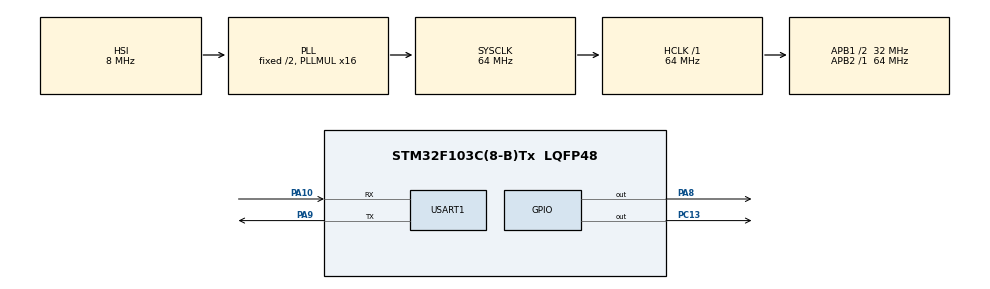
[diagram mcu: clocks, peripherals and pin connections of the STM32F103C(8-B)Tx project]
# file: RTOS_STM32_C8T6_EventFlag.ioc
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FREERTOS.BinarySemaphores01=semUart,Dynamic,NULL,Available
FREERTOS.Events01=notifyEvent,Dynamic,NULL;uartEventFlag,Dynamic,NULL
FREERTOS.HEAP_NUMBER=4
FREERTOS.Tasks01=Task1_LedBoard,24,128,S_Task1_LedBoard,Default,NULL,Dynamic,NULL,NULL;Task2_LedBlue,24,128,S_Task2_LedBlue,Default,NULL,Dynamic,NULL,NULL;Task1_PrintNoti,24,128,S_Task1_PrintNotify,Default,NULL,Dynamic,NULL,NULL;Task4_CountUp,24,128,S_Task4_CountUp,Default,NULL,Dynamic,NULL,NULL
FREERTOS.configMAX_TASK_NAME_LEN=16
FREERTOS.configTOTAL_HEAP_SIZE=3072
FREERTOS.configUSE_NEWLIB_REENTRANT=1
Mcu.Family=STM32F1
Mcu.Name=STM32F103C(8-B)Tx
Mcu.Package=LQFP48
NVIC.PriorityGroup=NVIC_PRIORITYGROUP_4
NVIC.TIM1_UP_IRQn=true\:15\:0\:false\:false\:true\:false\:false\:true\:true
NVIC.TimeBase=TIM1_UP_IRQn
NVIC.TimeBaseIP=TIM1
NVIC.USART1_IRQn=true\:5\:0\:false\:false\:true\:true\:true\:true\:true
PA10.Mode=Asynchronous
PA10.Signal=USART1_RX
PA13.Mode=Serial_Wire
PA13.Signal=SYS_JTMS-SWDIO
PA14.Mode=Serial_Wire
PA14.Signal=SYS_JTCK-SWCLK
PA8.Signal=GPIO_Output
PA9.Mode=Asynchronous
PA9.Signal=USART1_TX
PC13-TAMPER-RTC.Signal=GPIO_Output
PD0-OSC_IN.Mode=HSE-External-Oscillator
PD0-OSC_IN.Signal=RCC_OSC_IN
PD1-OSC_OUT.Mode=HSE-External-Oscillator
PD1-OSC_OUT.Signal=RCC_OSC_OUT
ProjectManager.HeapSize=0x200
ProjectManager.StackSize=0x400
ProjectManager.TargetToolchain=STM32CubeIDE
RCC.AHBFreq_Value=64000000
RCC.APB1CLKDivider=RCC_HCLK_DIV2
RCC.APB1Freq_Value=32000000
RCC.APB1TimFreq_Value=64000000
RCC.APB2Freq_Value=64000000
RCC.APB2TimFreq_Value=64000000
RCC.HCLKFreq_Value=64000000
RCC.PLLMUL=RCC_PLL_MUL16
RCC.SYSCLKFreq_VALUE=64000000
RCC.SYSCLKSource=RCC_SYSCLKSOURCE_PLLCLK
RCC.USBFreq_Value=64000000
USART1.VirtualMode=VM_ASYNC
VP_FREERTOS_VS_CMSIS_V2.Mode=CMSIS_V2
VP_SYS_VS_tim1.Mode=TIM1
board=custom

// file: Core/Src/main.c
/* USER CODE BEGIN Header */
/**
  ******************************************************************************
  * @file           : main.c
  * @brief          : Main program body
  ******************************************************************************
  * @attention
  *
  * Copyright (c) 2025 STMicroelectronics.
  * All rights reserved.
  *
  * This software is licensed under terms that can be found in the LICENSE file
  * in the root directory of this software component.
  * If no LICENSE file comes with this software, it is provided AS-IS.
  *
  ******************************************************************************
  */
/* USER CODE END Header */
#include "main.h"
#include "cmsis_os.h"

/* USER CODE BEGIN Includes */
#include "stdio.h"
#include "string.h"
/* USER CODE END Includes */

/* USER CODE BEGIN PD */
#define SEM_UART_USE 1
#define ISR_MODE 0

#define TASK0_BIT   (1 << 0)
#define TASK1_BIT   (1 << 0)
#define TASK2_BIT   (1 << 1)
/* USER CODE END PD */

UART_HandleTypeDef huart1;

/* Definitions for Task1_LedBoard */
osThreadId_t Task1_LedBoardHandle;
const osThreadAttr_t Task1_LedBoard_attributes = {
  .name = "Task1_LedBoard",
  .stack_size = 128 * 4,
  .priority = (osPriority_t) osPriorityNormal,
};
/* Definitions for Task2_LedBlue */
osThreadId_t Task2_LedBlueHandle;
const osThreadAttr_t Task2_LedBlue_attributes = {
  .name = "Task2_LedBlue",
  .stack_size = 128 * 4,
  .priority = (osPriority_t) osPriorityNormal,
};
/* Definitions for Task1_PrintNoti */
osThreadId_t Task1_PrintNotiHandle;
const osThreadAttr_t Task1_PrintNoti_attributes = {
  .name = "Task1_PrintNoti",
  .stack_size = 128 * 4,
  .priority = (osPriority_t) osPriorityNormal,
};
/* Definitions for Task4_CountUp */
osThreadId_t Task4_CountUpHandle;
const osThreadAttr_t Task4_CountUp_attributes = {
  .name = "Task4_CountUp",
  .stack_size = 128 * 4,
  .priority = (osPriority_t) osPriorityNormal,
};
/* Definitions for semUart */
osSemaphoreId_t semUartHandle;
const osSemaphoreAttr_t semUart_attributes = {
  .name = "semUart"
};
/* Definitions for notifyEvent */
osEventFlagsId_t notifyEventHandle;
const osEventFlagsAttr_t notifyEvent_attributes = {
  .name = "notifyEvent"
};
/* Definitions for uartEventFlag */
osEventFlagsId_t uartEventFlagHandle;
const osEventFlagsAttr_t uartEventFlag_attributes = {
  .name = "uartEventFlag"
};

void SystemClock_Config(void);
static void MX_GPIO_Init(void);
static void MX_USART1_UART_Init(void);
void S_Task1_LedBoard(void *argument);
void S_Task2_LedBlue(void *argument);
void S_Task1_PrintNotify(void *argument);
void S_Task4_CountUp(void *argument);

/* USER CODE BEGIN PFP */
int _write(int fd, char * ptr, int len) {
  HAL_UART_Transmit( & huart1, (uint8_t * ) ptr, len, HAL_MAX_DELAY);
  return len;
}

uint8_t data_rx;
char uart_buff[100];
uint8_t uart_index = 0;
uint8_t uart_flag = 0;
void HAL_UART_RxCpltCallback(UART_HandleTypeDef *huart){

	if (data_rx == '\n'){
		uart_buff[uart_index] = '\0';
		uart_flag = 1;
	}else{
		uart_buff[uart_index++] = data_rx;
	}

	if (uart_flag == 1){
	  uart_flag = 0;
	  uart_index = 0;
	  osEventFlagsSet(uartEventFlagHandle, TASK0_BIT);
	}
	HAL_UART_Receive_IT(&huart1, &data_rx, 1);
}
/* USER CODE END PFP */

int main(void)
{

  /* MCU Configuration--------------------------------------------------------*/

  /* Reset of all peripherals, Initializes the Flash interface and the Systick. */
  HAL_Init();

  /* Configure the system clock */
  SystemClock_Config();

  /* Initialize all configured peripherals */
  MX_GPIO_Init();
  MX_USART1_UART_Init();
  HAL_UART_Receive_IT(&huart1, &data_rx, 1);

  /* Init scheduler */
  osKernelInitialize();

  /* Create the semaphores(s) */
  /* creation of semUart */
  semUartHandle = osSemaphoreNew(1, 1, &semUart_attributes);

  /* Create the thread(s) */
  /* creation of Task1_LedBoard */
  Task1_LedBoardHandle = osThreadNew(S_Task1_LedBoard, NULL, &Task1_LedBoard_attributes);

  /* creation of Task2_LedBlue */
  Task2_LedBlueHandle = osThreadNew(S_Task2_LedBlue, NULL, &Task2_LedBlue_attributes);

  /* creation of Task1_PrintNoti */
  Task1_PrintNotiHandle = osThreadNew(S_Task1_PrintNotify, NULL, &Task1_PrintNoti_attributes);

  /* creation of Task4_CountUp */
  Task4_CountUpHandle = osThreadNew(S_Task4_CountUp, NULL, &Task4_CountUp_attributes);

  /* Create the event(s) */
  /* creation of notifyEvent */
  notifyEventHandle = osEventFlagsNew(&notifyEvent_attributes);

  /* creation of uartEventFlag */
  uartEventFlagHandle = osEventFlagsNew(&uartEventFlag_attributes);

  /* Start scheduler */
  osKernelStart();

  /* We should never get here as control is now taken by the scheduler */

  /* Infinite loop */
  while (1)
  {

  }
}

void SystemClock_Config(void)
{
  RCC_OscInitTypeDef RCC_OscInitStruct = {0};
  RCC_ClkInitTypeDef RCC_ClkInitStruct = {0};

  /** Initializes the RCC Oscillators according to the specified parameters
  * in the RCC_OscInitTypeDef structure.
  */
  RCC_OscInitStruct.OscillatorType = RCC_OSCILLATORTYPE_HSI;
  RCC_OscInitStruct.HSIState = RCC_HSI_ON;
  RCC_OscInitStruct.HSICalibrationValue = RCC_HSICALIBRATION_DEFAULT;
  RCC_OscInitStruct.PLL.PLLState = RCC_PLL_ON;
  RCC_OscInitStruct.PLL.PLLSource = RCC_PLLSOURCE_HSI_DIV2;
  RCC_OscInitStruct.PLL.PLLMUL = RCC_PLL_MUL16;
  if (HAL_RCC_OscConfig(&RCC_OscInitStruct) != HAL_OK)
  {
    Error_Handler();
  }

  /** Initializes the CPU, AHB and APB buses clocks
  */
  RCC_ClkInitStruct.ClockType = RCC_CLOCKTYPE_HCLK|RCC_CLOCKTYPE_SYSCLK
                              |RCC_CLOCKTYPE_PCLK1|RCC_CLOCKTYPE_PCLK2;
  RCC_ClkInitStruct.SYSCLKSource = RCC_SYSCLKSOURCE_PLLCLK;
  RCC_ClkInitStruct.AHBCLKDivider = RCC_SYSCLK_DIV1;
  RCC_ClkInitStruct.APB1CLKDivider = RCC_HCLK_DIV2;
  RCC_ClkInitStruct.APB2CLKDivider = RCC_HCLK_DIV1;

  if (HAL_RCC_ClockConfig(&RCC_ClkInitStruct, FLASH_LATENCY_2) != HAL_OK)
  {
    Error_Handler();
  }
}

static void MX_USART1_UART_Init(void)
{

  huart1.Instance = USART1;
  huart1.Init.BaudRate = 115200;
  huart1.Init.WordLength = UART_WORDLENGTH_8B;
  huart1.Init.StopBits = UART_STOPBITS_1;
  huart1.Init.Parity = UART_PARITY_NONE;
  huart1.Init.Mode = UART_MODE_TX_RX;
  huart1.Init.HwFlowCtl = UART_HWCONTROL_NONE;
  huart1.Init.OverSampling = UART_OVERSAMPLING_16;
  if (HAL_UART_Init(&huart1) != HAL_OK)
  {
    Error_Handler();
  }

}

static void MX_GPIO_Init(void)
{
  GPIO_InitTypeDef GPIO_InitStruct = {0};

  /* GPIO Ports Clock Enable */
  __HAL_RCC_GPIOC_CLK_ENABLE();
  __HAL_RCC_GPIOD_CLK_ENABLE();
  __HAL_RCC_GPIOA_CLK_ENABLE();

  /*Configure GPIO pin Output Level */
  HAL_GPIO_WritePin(GPIOC, GPIO_PIN_13, GPIO_PIN_RESET);

  /*Configure GPIO pin Output Level */
  HAL_GPIO_WritePin(GPIOA, GPIO_PIN_8, GPIO_PIN_RESET);

  /*Configure GPIO pin : PC13 */
  GPIO_InitStruct.Pin = GPIO_PIN_13;
  GPIO_InitStruct.Mode = GPIO_MODE_OUTPUT_PP;
  GPIO_InitStruct.Pull = GPIO_NOPULL;
  GPIO_InitStruct.Speed = GPIO_SPEED_FREQ_LOW;
  HAL_GPIO_Init(GPIOC, &GPIO_InitStruct);

  /*Configure GPIO pin : PA8 */
  GPIO_InitStruct.Pin = GPIO_PIN_8;
  GPIO_InitStruct.Mode = GPIO_MODE_OUTPUT_PP;
  GPIO_InitStruct.Pull = GPIO_NOPULL;
  GPIO_InitStruct.Speed = GPIO_SPEED_FREQ_LOW;
  HAL_GPIO_Init(GPIOA, &GPIO_InitStruct);

}

void S_Task1_LedBoard(void *argument)
{
  /* USER CODE BEGIN 5 */
	uint32_t next_wake_time = osKernelGetTickCount();
	uint8_t count = 0;
  /* Infinite loop */
  for(;;)
  {
#if SEM_UART_USE
	osSemaphoreAcquire(semUartHandle, osWaitForever);
#endif
	printf("Task 1 in: %ld\n", osKernelGetTickCount());

#if SEM_UART_USE
	osSemaphoreRelease(semUartHandle);
#endif

	HAL_GPIO_TogglePin(GPIOC, GPIO_PIN_13);

#if SEM_UART_USE
	osSemaphoreAcquire(semUartHandle, osWaitForever);
#endif
	printf("Task 1 out: %ld\n\n", osKernelGetTickCount());

#if SEM_UART_USE
	osSemaphoreRelease(semUartHandle);
#endif

	count++;

	if (count % 5 == 0){
		osEventFlagsSet(notifyEventHandle, TASK1_BIT);
	}

	next_wake_time += 1000;
	osDelayUntil(next_wake_time);

  }
  /* USER CODE END 5 */
}

void S_Task2_LedBlue(void *argument)
{
  /* USER CODE BEGIN S_Task2_LedBlue */
	uint32_t next_wake_time = osKernelGetTickCount();
	uint8_t count = 0;
  /* Infinite loop */
  for(;;)
  {
#if SEM_UART_USE
	osSemaphoreAcquire(semUartHandle, osWaitForever);
#endif
	printf("Task 2 in: %ld\n", osKernelGetTickCount());
#if SEM_UART_USE
	osSemaphoreRelease(semUartHandle);
#endif

	HAL_GPIO_TogglePin(GPIOA, GPIO_PIN_8);

#if SEM_UART_USE
	osSemaphoreAcquire(semUartHandle, osWaitForever);
#endif
	printf("Task 2 out: %ld\n\n", osKernelGetTickCount());
#if SEM_UART_USE
	osSemaphoreRelease(semUartHandle);
#endif

	count++;

	if (count % 4 == 0){
		osEventFlagsSet(notifyEventHandle, TASK2_BIT);
	}

	next_wake_time += 1500;
	osDelayUntil(next_wake_time);
  }
  /* USER CODE END S_Task2_LedBlue */
}

/* USER CODE BEGIN Header_S_Task1_PrintNotify */
uint8_t countUp = 0;
/**
* @brief Function implementing the Task1_PrintNoti thread.
* @param argument: Not used
* @retval None
*/
/* USER CODE END Header_S_Task1_PrintNotify */
void S_Task1_PrintNotify(void *argument)
{
  /* USER CODE BEGIN S_Task1_PrintNotify */
  /* Infinite loop */
  for(;;)
  {
	uint32_t flags = osEventFlagsWait(notifyEventHandle, TASK1_BIT | TASK2_BIT, osFlagsWaitAll, osWaitForever);

#if SEM_UART_USE
	osSemaphoreAcquire(semUartHandle, osWaitForever);
#endif
	  printf("=================================================\n");
	  printf("Task 1 da nhay 5 lan va Task 2 da nhay 4 lan.\nSo lan Event: %d", countUp);
	  printf("=================================================\n");
#if SEM_UART_USE
	osSemaphoreRelease(semUartHandle);
#endif

	  osEventFlagsClear(notifyEventHandle, TASK1_BIT | TASK2_BIT);
  }
  /* USER CODE END S_Task1_PrintNotify */
}

void S_Task4_CountUp(void *argument)
{
  /* USER CODE BEGIN S_Task4_CountUp */
  /* Infinite loop */
  for(;;)
  {
#if ISR_MODE
	uint32_t flags = osEventFlagsWait(notifyEventHandle, TASK1_BIT | TASK2_BIT, osFlagsWaitAll, osWaitForever);

	countUp++;

	  osEventFlagsClear(notifyEventHandle, TASK1_BIT | TASK2_BIT);
#else
	uint32_t flags = osEventFlagsWait(uartEventFlagHandle, TASK0_BIT, osFlagsWaitAll, osWaitForever);

	printf("Command receive: %s\n", uart_buff);

	  osEventFlagsClear(notifyEventHandle, TASK0_BIT);

#endif
  }
  /* USER CODE END S_Task4_CountUp */
}

void HAL_TIM_PeriodElapsedCallback(TIM_HandleTypeDef *htim)
{
  if (htim->Instance == TIM1) {
    HAL_IncTick();
  }
}

void Error_Handler(void)
{
  __disable_irq();
  while (1)
  {
  }
}
